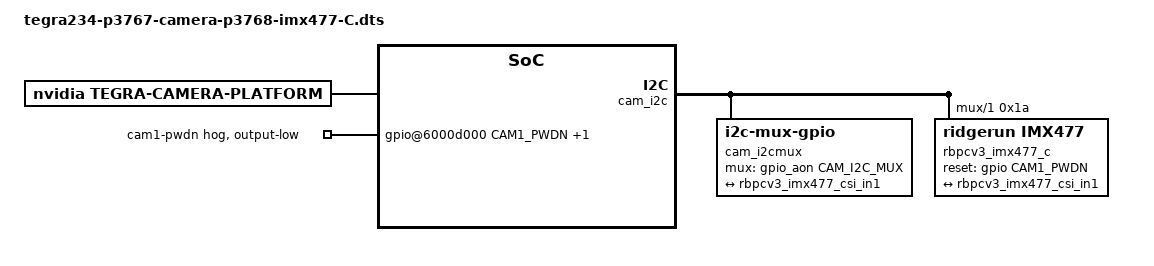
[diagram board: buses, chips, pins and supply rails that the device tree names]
// SPDX-License-Identifier: GPL-2.0-only
// SPDX-FileCopyrightText: Copyright (c) 2023-2024, NVIDIA CORPORATION & AFFILIATES. All rights reserved.

/dts-v1/;
/plugin/;

#define CAM0_PWDN	TEGRA234_MAIN_GPIO(H, 6)
#define CAM1_PWDN	TEGRA234_MAIN_GPIO(AC, 0)
#define CAM_I2C_MUX 	TEGRA234_AON_GPIO(CC, 3)

#include <dt-bindings/tegra234-p3767-0000-common.h>

/ {
	overlay-name = "Camera IMX477-C";
	jetson-header-name = "Jetson 24pin CSI Connector";
	compatible = JETSON_COMPATIBLE_P3768;
	/*IMX477 connected on cam0 port */

	fragment@0 {
		target-path = "/";
		__overlay__ {
			tegra-capture-vi  {
				num-channels = <1>;
				ports {
					#address-cells = <1>;
					#size-cells = <0>;
					port@0 {
						reg = <0>;
						rbpcv3_imx477_vi_in1: endpoint {
							port-index = <2>;
							bus-width = <2>;
							remote-endpoint = <&rbpcv3_imx477_csi_out1>;
						};
					};
				};
			};
			tegra-camera-platform {
				compatible = "nvidia, tegra-camera-platform";
				/**
				 * The general guideline for naming badge_info contains 3 parts, and is as follows,
				 * The first part is the camera_board_id for the module; if the module is in a FFD
				 * platform, then use the platform name for this part.
				 * The second part contains the position of the module, ex. "rear" or "front".
				 * The third part contains the last 6 characters of a part number which is found
				 * in the module's specsheet from the vendor.
				 */
				modules {
					module1 {
						badge = "jakku_rear_RBPCV3";
						position = "rear";
						orientation = "1";
						drivernode0 {
							pcl_id = "v4l2_sensor";
							sysfs-device-tree = "/sys/firmware/devicetree/base/bus@0/cam_i2cmux/i2c@1/rbpcv3_imx477_c@1a";
						};
					};
				};
			};
			bus@0 {
				host1x@13e00000 {
					nvcsi@15a00000 {
						num-channels = <1>;
						#address-cells = <1>;
						#size-cells = <0>;
						channel@0 {
							reg = <0>;
							ports {
								#address-cells = <1>;
								#size-cells = <0>;
								port@0 {
									reg = <0>;
									rbpcv3_imx477_csi_in1: endpoint@0 {
										port-index = <2>;
										bus-width = <2>;
										remote-endpoint = <&rbpcv3_imx477_out1>;
									};
								};
								port@1 {
									reg = <1>;
									rbpcv3_imx477_csi_out1: endpoint@1 {
										remote-endpoint = <&rbpcv3_imx477_vi_in1>;
									};
								};
							};
						};
					};
				};
				cam_i2cmux {
					status = "okay";
					compatible = "i2c-mux-gpio";
					#address-cells = <1>;
					#size-cells = <0>;
					mux-gpios = <&gpio_aon CAM_I2C_MUX GPIO_ACTIVE_HIGH>;
					i2c-parent = <&cam_i2c>;
					i2c@0 {
						rbpcv2_imx219_a@10 {
							status = "disabled";
						};
					};
					i2c@1 {
						status = "okay";
						reg = <1>;
						#address-cells = <1>;
						#size-cells = <0>;
						rbpcv2_imx219_c@10 {
							status = "disabled";
						};
						rbpcv3_imx477_c@1a {
							reset-gpios = <&gpio CAM1_PWDN GPIO_ACTIVE_HIGH>;
							compatible = "ridgerun,imx477";
							/* I2C device address */
							reg = <0x1a>;
							/* V4L2 device node location */
							devnode = "video0";
							/* Physical dimensions of sensor */
							physical_w = "3.680";
							physical_h = "2.760";
							sensor_model = "imx477";
							use_sensor_mode_id = "true";
							mode0 { /* IMX477_MODE_3840x2160 */
								mclk_khz = "24000";
								num_lanes = "2";
								tegra_sinterface = "serial_c";
								phy_mode = "DPHY";
								discontinuous_clk = "no";
								dpcm_enable = "false";
								cil_settletime = "0";
								lane_polarity = "0";
								active_w = "3840";
								active_h = "2160";
								mode_type = "bayer";
								pixel_phase = "rggb";
								csi_pixel_bit_depth = "10";
								readout_orientation = "90";
								line_length = "11200";
								inherent_gain = "1";
								mclk_multiplier = "80";
								pix_clk_hz = "300000000";
								gain_factor = "16";
								framerate_factor = "1000000";
								exposure_factor = "1000000";
								min_gain_val = "16"; /* 1.00x */
								max_gain_val = "356"; /* 22x */
								step_gain_val = "1";
								default_gain = "16"; /* 1.00x */
								min_hdr_ratio = "1";
								max_hdr_ratio = "1";
								min_framerate = "2000000"; /* 2.0 fps */
								max_framerate = "30000000"; /* 30.0 fps */
								step_framerate = "1";
								default_framerate = "30000000"; /* 30.0 fps */
								min_exp_time = "13"; /* us */
								max_exp_time = "683709"; /* us */
								step_exp_time = "1";
								default_exp_time = "2495"; /* us */
								embedded_metadata_height = "2";
							};
							mode1 { /* IMX477_MODE_1920X1080 */
								mclk_khz = "24000";
								num_lanes = "2";
								tegra_sinterface = "serial_c";
								phy_mode = "DPHY";
								discontinuous_clk = "no";
								dpcm_enable = "false";
								cil_settletime = "0";
								lane_polarity = "0";
								active_w = "1920";
								active_h = "1080";
								mode_type = "bayer";
								pixel_phase = "rggb";
								csi_pixel_bit_depth = "10";
								readout_orientation = "90";
								line_length = "7000";
								inherent_gain = "1";
								mclk_multiplier = "80";
								pix_clk_hz = "300000000";
								gain_factor = "16";
								framerate_factor = "1000000";
								exposure_factor = "1000000";
								min_gain_val = "16"; /* 1.00x */
								max_gain_val = "356"; /* 22x */
								step_gain_val = "1";
								default_gain = "16"; /* 1.00x */
								min_hdr_ratio = "1";
								max_hdr_ratio = "1";
								min_framerate = "2000000"; /* 2.0 fps */
								max_framerate = "60000000"; /* 60.0 fps */
								step_framerate = "1";
								default_framerate = "60000000"; /* 60.0 fps */
								min_exp_time = "13"; /* us */
								max_exp_time = "683709"; /* us */
								step_exp_time = "1";
								default_exp_time = "2495"; /* us */
								embedded_metadata_height = "2";
							};
							ports {
								#address-cells = <1>;
								#size-cells = <0>;
								port@0 {
									reg = <0>;
									rbpcv3_imx477_out1: endpoint {
										port-index = <2>;
										bus-width = <2>;
										remote-endpoint = <&rbpcv3_imx477_csi_in1>;
									};
								};
							};
						};
					};
				};

				gpio@6000d000 {
					camera-control-output-low {
						gpio-hog;
						output-low;
						gpios = <CAM1_PWDN 0  CAM0_PWDN 0>;
						label = "cam1-pwdn", "cam0-pwdn";
					};
				};
			};
		};
	};
};
